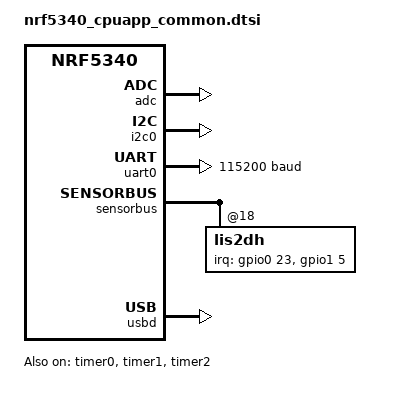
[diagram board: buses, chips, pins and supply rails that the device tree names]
/*
 * Copyright (c) 2019-2020 Nordic Semiconductor ASA
 * Copyright (c) 2024 Sensoan Oy
 *
 * SPDX-License-Identifier: Apache-2.0
 */
#include "sgw2_nrf5340_common.dtsi"
#include "sgw2_common.dtsi"
#include "nrf5340_cpuapp_common-pinctrl.dtsi"

/ {

	chosen {
		zephyr,console = &uart0;
		zephyr,shell-uart = &uart0;
		zephyr,uart-mcumgr = &uart0;
		zephyr,bt-mon-uart = &uart0;
		zephyr,bt-c2h-uart = &uart0;
		zephyr,bt-hci-ipc = &ipc0;
		zephyr,ieee802154 = &ieee802154;
	};

	gpio_fwd: nrf-gpio-forwarder {
		compatible = "nordic,nrf-gpio-forwarder";
		status = "okay";
		uart {
			gpios = <&edge_connector 26 0>, <&edge_connector 29 0>;
		};
	};

	/* These aliases are provided for compatibility with samples */
	aliases {
		watchdog0 = &wdt0;
		spi-flash0 = &w25q80dv;
		accel0 = &lis2dh;
	};
};

&adc {
	status = "okay";
};

&gpiote {
	status = "okay";
};

&gpio0 {
	status = "okay";
};

&gpio1 {
	status = "okay";
};

&i2c0 {
	compatible = "nordic,nrf-twim";
	status = "okay";
	pinctrl-0 = <&i2c0_default>;
	pinctrl-1 = <&i2c0_sleep>;
	pinctrl-names = "default", "sleep";
};

&uart0 {
	status = "okay";
	current-speed = <115200>;
	pinctrl-0 = <&uart0_default>;
	pinctrl-1 = <&uart0_sleep>;
	pinctrl-names = "default", "sleep";
};

&timer0 {
	status = "okay";
};

&timer1 {
	status = "okay";
};

&timer2 {
	status = "okay";
};

&sensorbus {
	lis2dh: lis2dh@18 {
		irq-gpios = <&gpio0 23 GPIO_ACTIVE_HIGH>,
			<&gpio1 5 GPIO_ACTIVE_HIGH>;
	};
};

&flash_spi {
	cs-gpios = <&gpio0 25 GPIO_ACTIVE_LOW>;
};

&flash0 {

	partitions {
		compatible = "fixed-partitions";
		#address-cells = <1>;
		#size-cells = <1>;

		boot_partition: partition@0 {
			label = "mcuboot";
			reg = <0x00000000 0x00010000>;
		};
		slot0_partition: partition@10000 {
			label = "image-0";
		};
		slot0_ns_partition: partition@50000 {
			label = "image-0-nonsecure";
		};
		slot1_partition: partition@80000 {
			label = "image-1";
		};
		slot1_ns_partition: partition@c0000 {
			label = "image-1-nonsecure";
		};
		scratch_partition: partition@f0000 {
			label = "image-scratch";
			reg = <0x000f0000 0xa000>;
		};
		storage_partition: partition@fa000 {
			label = "storage";
			reg = <0x000fa000 0x00006000>;
		};
	};
};

zephyr_udc0: &usbd {
	compatible = "nordic,nrf-usbd";
	status = "okay";
};

/ {

	reserved-memory {
		#address-cells = <1>;
		#size-cells = <1>;
		ranges;

		sram0_image: image@20000000 {
			/* Zephyr image(s) memory */
		};

		sram0_s: image_s@20000000 {
			/* Secure image memory */
		};

		sram0_ns: image_ns@20040000 {
			/* Non-Secure image memory */
		};
	};
};

/* Include partition configuration file */
#include "nrf5340_cpuapp_partition_conf.dtsi"
